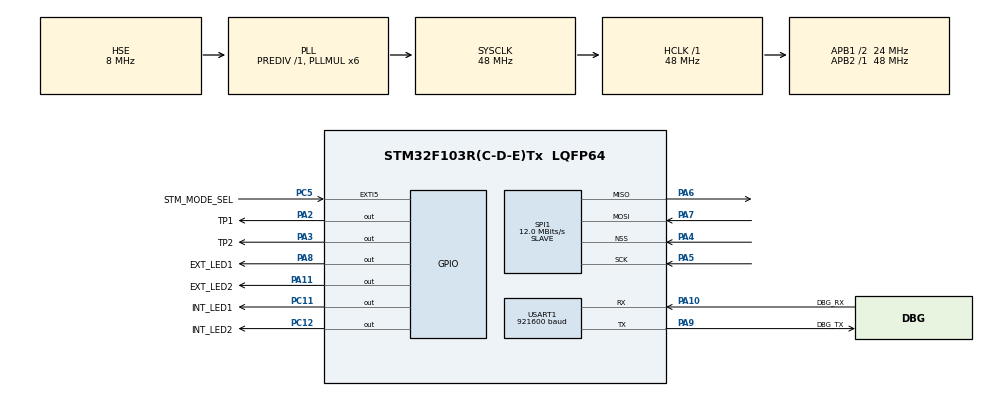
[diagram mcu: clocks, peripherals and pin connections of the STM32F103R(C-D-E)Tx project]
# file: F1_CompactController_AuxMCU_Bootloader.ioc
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Dma.Request0=SPI1_RX
Dma.Request1=SPI1_TX
Dma.Request2=USART1_TX
Dma.SPI1_RX.0.Direction=DMA_PERIPH_TO_MEMORY
Dma.SPI1_RX.0.Instance=DMA1_Channel2
Dma.SPI1_RX.0.MemDataAlignment=DMA_MDATAALIGN_BYTE
Dma.SPI1_RX.0.MemInc=DMA_MINC_ENABLE
Dma.SPI1_RX.0.Mode=DMA_CIRCULAR
Dma.SPI1_RX.0.PeriphDataAlignment=DMA_PDATAALIGN_BYTE
Dma.SPI1_RX.0.PeriphInc=DMA_PINC_DISABLE
Dma.SPI1_RX.0.Priority=DMA_PRIORITY_HIGH
Dma.SPI1_TX.1.Direction=DMA_MEMORY_TO_PERIPH
Dma.SPI1_TX.1.Instance=DMA1_Channel3
Dma.SPI1_TX.1.MemDataAlignment=DMA_MDATAALIGN_BYTE
Dma.SPI1_TX.1.MemInc=DMA_MINC_ENABLE
Dma.SPI1_TX.1.Mode=DMA_NORMAL
Dma.SPI1_TX.1.PeriphDataAlignment=DMA_PDATAALIGN_BYTE
Dma.SPI1_TX.1.PeriphInc=DMA_PINC_DISABLE
Dma.SPI1_TX.1.Priority=DMA_PRIORITY_MEDIUM
Dma.USART1_TX.2.Direction=DMA_MEMORY_TO_PERIPH
Dma.USART1_TX.2.Instance=DMA1_Channel4
Dma.USART1_TX.2.MemDataAlignment=DMA_MDATAALIGN_BYTE
Dma.USART1_TX.2.MemInc=DMA_MINC_ENABLE
Dma.USART1_TX.2.Mode=DMA_NORMAL
Dma.USART1_TX.2.PeriphDataAlignment=DMA_PDATAALIGN_BYTE
Dma.USART1_TX.2.PeriphInc=DMA_PINC_DISABLE
Dma.USART1_TX.2.Priority=DMA_PRIORITY_LOW
Mcu.Family=STM32F1
Mcu.Name=STM32F103R(C-D-E)Tx
Mcu.Package=LQFP64
NVIC.DMA1_Channel2_IRQn=true\:0\:0\:false\:false\:true\:false\:true
NVIC.DMA1_Channel3_IRQn=true\:0\:0\:false\:false\:true\:false\:true
NVIC.DMA1_Channel4_IRQn=true\:0\:0\:false\:false\:true\:false\:true
NVIC.EXTI9_5_IRQn=true\:0\:0\:false\:false\:true\:true\:true
NVIC.PriorityGroup=NVIC_PRIORITYGROUP_4
NVIC.SPI1_IRQn=true\:0\:0\:false\:false\:true\:true\:true
PA0-WKUP.Mode=SYS_WakeUp0
PA0-WKUP.Signal=SYS_WKUP
PA10.GPIO_Label=DBG_RX
PA10.Mode=Asynchronous
PA10.Signal=USART1_RX
PA11.GPIO_Label=EXT_LED2
PA11.Signal=GPIO_Output
PA13.Mode=Serial_Wire
PA13.Signal=SYS_JTMS-SWDIO
PA14.Mode=Serial_Wire
PA14.Signal=SYS_JTCK-SWCLK
PA2.GPIO_Label=TP1
PA2.Signal=GPIO_Output
PA3.GPIO_Label=TP2
PA3.Signal=GPIO_Output
PA4.Mode=NSS_Signal_Hard_Input
PA4.Signal=SPI1_NSS
PA5.Mode=Full_Duplex_Slave
PA5.Signal=SPI1_SCK
PA6.Mode=Full_Duplex_Slave
PA6.Signal=SPI1_MISO
PA7.Mode=Full_Duplex_Slave
PA7.Signal=SPI1_MOSI
PA8.GPIO_Label=EXT_LED1
PA8.Signal=GPIO_Output
PA9.GPIO_Label=DBG_TX
PA9.Mode=Asynchronous
PA9.Signal=USART1_TX
PC11.GPIO_Label=INT_LED1
PC11.PinState=GPIO_PIN_SET
PC11.Signal=GPIO_Output
PC12.GPIO_Label=INT_LED2
PC12.PinState=GPIO_PIN_SET
PC12.Signal=GPIO_Output
PC14-OSC32_IN.Mode=LSE-External-Oscillator
PC14-OSC32_IN.Signal=RCC_OSC32_IN
PC15-OSC32_OUT.Mode=LSE-External-Oscillator
PC15-OSC32_OUT.Signal=RCC_OSC32_OUT
PC5.GPIO_Label=STM_MODE_SEL
PC5.GPIO_ModeDefaultEXTI=GPIO_MODE_IT_RISING_FALLING
PC5.Signal=GPXTI5
PD0-OSC_IN.Mode=HSE-External-Oscillator
PD0-OSC_IN.Signal=RCC_OSC_IN
PD1-OSC_OUT.Mode=HSE-External-Oscillator
PD1-OSC_OUT.Signal=RCC_OSC_OUT
ProjectManager.HeapSize=0x200
ProjectManager.StackSize=0x400
ProjectManager.TargetToolchain=STM32CubeIDE
RCC.AHBFreq_Value=48000000
RCC.APB1CLKDivider=RCC_HCLK_DIV2
RCC.APB1Freq_Value=24000000
RCC.APB1TimFreq_Value=48000000
RCC.APB2Freq_Value=48000000
RCC.APB2TimFreq_Value=48000000
RCC.HCLKFreq_Value=48000000
RCC.PLLMUL=RCC_PLL_MUL6
RCC.PLLSourceVirtual=RCC_PLLSOURCE_HSE
RCC.SYSCLKFreq_VALUE=48000000
RCC.SYSCLKSource=RCC_SYSCLKSOURCE_PLLCLK
RCC.USBFreq_Value=48000000
SPI1.BaudRatePrescaler=SPI_BAUDRATEPRESCALER_4
SPI1.CalculateBaudRate=12.0 MBits/s
SPI1.Direction=SPI_DIRECTION_2LINES
SPI1.Mode=SPI_MODE_SLAVE
SPI1.VirtualNSS=VM_NSSHARD
SPI1.VirtualType=VM_SLAVE
USART1.BaudRate=921600
USART1.VirtualMode=VM_ASYNC
board=custom

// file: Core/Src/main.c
/* USER CODE BEGIN Header */
/**
 ******************************************************************************
 * @file           : main.c
 * @brief          : Main program body
 ******************************************************************************
 * @attention
 *
 * <h2><center>&copy; Copyright (c) 2021 STMicroelectronics.
 * All rights reserved.</center></h2>
 *
 * This software component is licensed by ST under BSD 3-Clause license,
 * the "License"; You may not use this file except in compliance with the
 * License. You may obtain a copy of the License at:
 *                        opensource.org/licenses/BSD-3-Clause
 *
 ******************************************************************************
 */
/* USER CODE END Header */
#include "main.h"
#include "dma.h"
#include "spi.h"
#include "usart.h"
#include "gpio.h"

/* USER CODE BEGIN Includes */
#include "io.h"
#include "rt_bus_proto.h"
#include "rt_init.h"
/* USER CODE END Includes */

/* USER CODE BEGIN PV */
extern SPI_HandleTypeDef hspi1;
extern DMA_HandleTypeDef hdma_spi1_rx;
extern DMA_HandleTypeDef hdma_spi1_tx;
extern uint8_t gSPI_Tx_DMA_Buf[MAX_SPI_PACKET_SIZE];
extern uint8_t gSPI_Rx_DMA_Buf[MAX_SPI_PACKET_SIZE];
extern tPDO g_PDO;
extern tPDI g_PDI;
extern eLEDFlashMode g_led_flash_mode;

extern volatile uint32_t iapMailbox[2];
extern const uint8_t appsha[20];
extern tRT_FW_Update_Command_Packet sRT_FW_Update_Command_Packet;

uint16_t currentDMA = MAX_SPI_PACKET_SIZE;
uint8_t gRunMode = SWLEVEL_NONE;
uint8_t gStayInBootloader = 0;
uint8_t g_comms_mode = COMMS_MODE_PDIO;
/* USER CODE END PV */

void SystemClock_Config(void);
/* USER CODE BEGIN PFP */
void comms_set_mode();
void comms_init();
void bootloader(void);
void normalboot(void);
/* USER CODE END PFP */

int main(void)
{
  /* USER CODE BEGIN 1 */
	uint8_t appStatus = 0;
  /* USER CODE END 1 */

  /* MCU Configuration--------------------------------------------------------*/

  /* Reset of all peripherals, Initializes the Flash interface and the Systick. */
  HAL_Init();

  /* Configure the system clock */
  SystemClock_Config();

  /* Initialize all configured peripherals */
  MX_GPIO_Init();
  MX_DMA_Init();
  MX_SPI1_Init();
  MX_USART1_UART_Init();
  /* USER CODE BEGIN 2 */
	rt_get_app_info();
	rt_init();
	/* Infinite loop */

	// Check application validity (reset vector location, sha etc)
	// if valid
	// 		if iapMailbox is matches with magic number
	//			stay in bootloader mode
	// 		else
	//			jump to application after clearing iapMailbox
	// else
	//			stay in bootloader mode
	dbprintf("Checking....");
	appStatus = iap_CheckApplication();  /*  App requested to enter bootloader */
	if (appStatus == IAP_APP_SUCCESS)
	{
		if ((iapMailbox[0] == MAGIC_1) && (iapMailbox[1] == MAGIC_2))
		{
			dbprintf("Magic !!!");
			iapMailbox[0] = 0;
			iapMailbox[1] = 0;
			bootloader();
		}
		else
		{
			normalboot();
		}
	}
	bootloader();

  /* USER CODE END 2 */

  /* Infinite loop */
	while (1)
	{

	}
}

void SystemClock_Config(void)
{
  RCC_OscInitTypeDef RCC_OscInitStruct = {0};
  RCC_ClkInitTypeDef RCC_ClkInitStruct = {0};

  /** Initializes the RCC Oscillators according to the specified parameters
  * in the RCC_OscInitTypeDef structure.
  */
  RCC_OscInitStruct.OscillatorType = RCC_OSCILLATORTYPE_HSE;
  RCC_OscInitStruct.HSEState = RCC_HSE_ON;
  RCC_OscInitStruct.HSEPredivValue = RCC_HSE_PREDIV_DIV1;
  RCC_OscInitStruct.HSIState = RCC_HSI_ON;
  RCC_OscInitStruct.PLL.PLLState = RCC_PLL_ON;
  RCC_OscInitStruct.PLL.PLLSource = RCC_PLLSOURCE_HSE;
  RCC_OscInitStruct.PLL.PLLMUL = RCC_PLL_MUL6;
  if (HAL_RCC_OscConfig(&RCC_OscInitStruct) != HAL_OK)
  {
    Error_Handler();
  }
  /** Initializes the CPU, AHB and APB buses clocks
  */
  RCC_ClkInitStruct.ClockType = RCC_CLOCKTYPE_HCLK|RCC_CLOCKTYPE_SYSCLK
                              |RCC_CLOCKTYPE_PCLK1|RCC_CLOCKTYPE_PCLK2;
  RCC_ClkInitStruct.SYSCLKSource = RCC_SYSCLKSOURCE_PLLCLK;
  RCC_ClkInitStruct.AHBCLKDivider = RCC_SYSCLK_DIV1;
  RCC_ClkInitStruct.APB1CLKDivider = RCC_HCLK_DIV2;
  RCC_ClkInitStruct.APB2CLKDivider = RCC_HCLK_DIV1;

  if (HAL_RCC_ClockConfig(&RCC_ClkInitStruct, FLASH_LATENCY_1) != HAL_OK)
  {
    Error_Handler();
  }
}

/* USER CODE BEGIN 4 */

void Set_Comms_Mode()
{
	if (STM_MODE_SEL_GPIO_Port->IDR & STM_MODE_SEL_Pin){
		g_comms_mode = COMMS_MODE_CONF;
		dbprintf("Conf Mode");
		ERR_LED1_On();
		g_led_flash_mode = LED_MODE_HS_FLASH;
	}else{
		g_comms_mode = COMMS_MODE_PDIO;
		dbprintf("PDIO Mode");
		ERR_LED1_Off();
		g_led_flash_mode = LED_MODE_MS_FLASH;
	}
}

void HAL_GPIO_EXTI_Callback(uint16_t GPIO_Pin)
{
	Set_Comms_Mode();
}

void HAL_SPI_RxCpltCallback(SPI_HandleTypeDef *hspi)
{
	rt_bus_proto_bl_dt();
}

void rt_status_led_blink(void){
	static uint32_t led_blink_counter= 0;

	switch(g_led_flash_mode){
		case LED_MODE_NONE:
			ERR_LED2_Off();
			break;
		case LED_MODE_LS_FLASH:
		case LED_MODE_MS_FLASH:
		case LED_MODE_HS_FLASH:
			if((++led_blink_counter) == g_led_flash_mode){
							ERR_LED2_Toggle();
							led_blink_counter = 0;
			}
			break;
		default:
			break;
	}
}

void bootloader(void)
{
	gRunMode = SWLEVEL_BOOTLOADER;
	g_led_flash_mode = LED_MODE_MS_FLASH;
	while (1)
	{
		rt_status_led_blink();
	}
}

void normalboot(void)
{
	dbprintf("Application starting...");
	gRunMode = SWLEVEL_JUMPING;
	/* For normal boot clear mailbox and jumping to application */
	iapMailbox[0] = 0;
	iapMailbox[1] = 0;
	iap_JumpToApplication();
}
/* USER CODE END 4 */

void Error_Handler(void)
{
	__disable_irq();
	while (1)
	{
	}
}

/************************ (C) COPYRIGHT STMicroelectronics *****END OF FILE****/
